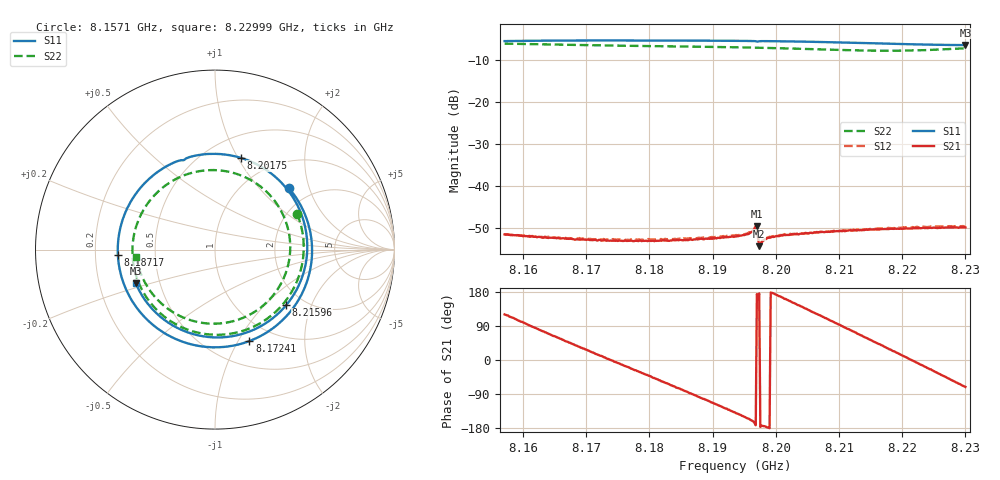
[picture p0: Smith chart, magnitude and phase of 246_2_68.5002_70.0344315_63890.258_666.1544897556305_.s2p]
#  HZ  S  RI  R  50.00
! Rohde & Schwarz Vector Network Analyzer
! Rohde-Schwarz,ZNB20-2Port,1311601062101988,3.16
! Created: UTC 3/20/2024, 4:59:39 PM
! freq[Hz]  re:S11  im:S11  re:S21  im:S21  re:S12  im:S12  re:S22  im:S22
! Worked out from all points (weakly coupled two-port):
!   401 points, 8.1571 GHz to 8.22999 GHz, reference 50 ohm
!   highest |S21| = -49.47 dB at 8.19701 GHz (marker M1); lowest = -54.2 dB at 8.19737 GHz (marker M2)
!   lowest |S11| = -6.4 dB at 8.22999 GHz (marker M3), VSWR 2.84, Z = 18.2 - j8.88 ohm
!   |S11| at or under -10 dB: nowhere
!   |S22| runs from -7.7 to -6.0 dB; largest |S21 - S12| = 0.00024
!   S11 on the Smith chart (normalised r, x): 8.1571 GHz: 1.54, +1.48; 8.17241 GHz: 0.77, -1.12; 8.18717 GHz: 0.30, -0.03; 8.20175 GHz: 0.72, +1.03; 8.21596 GHz: 1.62, -1.35; 8.22999 GHz: 0.36, -0.18
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8.157103e9  0.411 0.3429  -0.00136 0.00232  -0.0014 0.00234  0.4577 0.1987
8.163298e9  0.5397 -0.0419  0.000631 0.00238  0.000611 0.00241  0.4599 -0.1681
8.169311e9  0.3695 -0.3993  0.00198 0.00124  0.00205 0.00125  0.2264 -0.424
8.172409e9  0.1918 -0.5096  0.00222 0.000419  0.00231 0.000406  0.0551 -0.4727
8.176782e9  -0.1027 -0.5345  0.00213 -0.000759  0.00214 -0.000822  -0.1878 -0.4314
8.18152e9  -0.3863 -0.3822  0.00135 -0.0018  0.0014 -0.00189  -0.3864 -0.2589
8.187169e9  -0.5412 -0.0302  -0.000113 -0.00235  -0.000149 -0.00242  -0.4576 0.0416
8.190266e9  -0.5091 0.1826  -0.00102 -0.00217  -0.00109 -0.00224  -0.4072 0.2051
8.193546e9  -0.3865 0.3756  -0.0019 -0.00168  -0.00202 -0.00167  -0.2917 0.3452
8.196644e9  -0.203 0.4949  -0.00301 -0.000732  -0.00313 -0.000676  -0.1386 0.4251
8.197008e9  -0.177 0.4981  -0.00334 0.000352  -0.00343 0.000522  -0.1187 0.4303
8.197373e9  -0.1618 0.5075  -0.00194 0.000148  -0.00194 0.000223  -0.0989 0.4348
8.197737e9  -0.136 0.5173  -0.00212 -0.000241  -0.0022 -0.00016  -0.0784 0.4384
8.201746e9  0.1454 0.5108  -0.00247 0.000946  -0.00249 0.00106  0.1456 0.413
8.205755e9  0.382 0.3599  -0.00168 0.00222  -0.00165 0.00228  0.3297 0.2752
8.210857e9  0.5141 0.029  0.000198 0.00292  0.000253 0.00299  0.4187 -0.0103
8.215959e9  0.3962 -0.3101  0.00218 0.00217  0.0023 0.00214  0.2891 -0.2931
8.217964e9  0.2885 -0.4065  0.00275 0.00147  0.00285 0.00144  0.1841 -0.3675
8.220879e9  0.0933 -0.483  0.00315 0.00026  0.00325 0.00016  -0.000994 -0.4128
8.223612e9  -0.1032 -0.4756  0.00304 -0.000967  0.00309 -0.00114  -0.1801 -0.3768
8.227074e9  -0.3218 -0.3585  0.00221 -0.00236  0.00219 -0.00251  -0.3624 -0.2281
8.22999e9  -0.4414 -0.1876  0.00106 -0.00307  0.000932 -0.00321  -0.4383 -0.041
